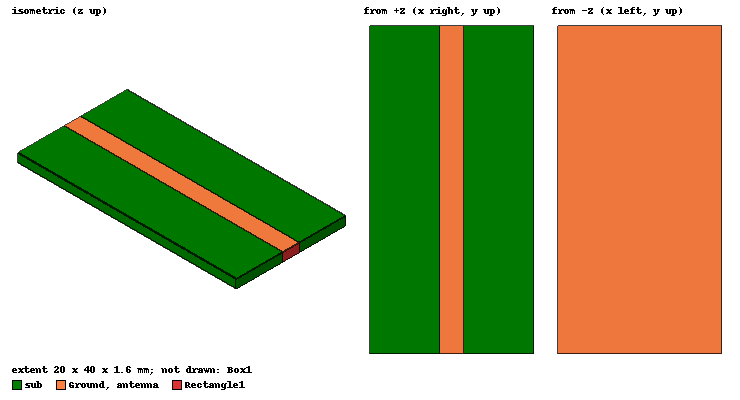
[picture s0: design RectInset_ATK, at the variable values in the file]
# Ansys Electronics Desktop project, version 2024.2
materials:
  vacuum: permittivity=1
  Duroid (tm): permittivity=2.2 dielectric_loss_tangent=0.0009
  FR4_epoxy: permittivity=4.4 dielectric_loss_tangent=0.02
  air: permittivity=1.0006 permeability=1.0000004

design RectInset_ATK (HFSS, HFSS Hybrid Terminal Network, model units mm)
options: Allow_Material_Override Save_Adaptive_support_files
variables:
  # --Antenna Dimensions
  patchX = 3cm
  patchY = 0.91cm
  # --Substrate Dimensions
  subH = 0.1575cm
  subX = 2.7cm
  subY = 2.87cm
  # --Feed Dimensions
  InsetDistance = 0.276cm
  InsetGap = 0.247cm
  FeedWidth = 0.493cm
  FeedLength = 0.914cm
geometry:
  sub [FR4_epoxy] = box(corner=(0, 0, 0), size=(20mm, 40mm, 1.6mm))
  Ground = rectangle(corner=(0mm, 0mm, 0mm), x_size=20mm, y_size=40mm)
  antenna = rectangle(corner=(10mm-1.5mm, 0mm, 1.6mm), x_size=3mm, y_size=40mm)
  port1 = rectangle(corner=(8.5mm, 0mm, 1.6mm), z_size=-1.6mm, x_size=3mm)
  Rectangle1 = rectangle(corner=(11.5mm, 40mm, 1.6mm), z_size=-1.6mm, x_size=-3mm)
  Box1 [vacuum] = box(corner=(-10mm, -10mm, -20mm), size=(40mm, 60mm, 40mm))
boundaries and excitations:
  antennaMetal: Perfect E Objects=antenna
  groundMetal: Perfect E Objects=Ground
  Rad1: Radiation Objects=Box1
  port1_T1: Terminal port=1 Edges=port1.edge(at (10, 0, 1.6)) TerminalResistance=50ohm
  1: Lumped Port Faces=port1.face LumpedPortType=Terminal Impedance=50ohm
  2: Lumped Port Objects=Rectangle1 LumpedPortType=Modal Modes{Mode1{IntLine{(10, 40, 0) -> (10, 40, 1.6)} CharImp=Zpi}} Impedance=50ohm
  reference conductors: antenna
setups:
  ATK_Solution: HfssDriven Frequency=5GHz MaxDeltaS=0.02 MaximumPasses=15 MinimumPasses=1 MinimumConvergedPasses=1 PercentRefinement=30 BasisOrder=1 PortAccuracy=2 DrivenSolverType="Direct Solver" IESolverType=ACA
    sweep FF_Sweep: 1GHz to 20GHz, 401 points; Type=Fast SaveFields
    sweep SParam_Sweep: 1GHz to 20GHz, 100 points; Type=Fast SaveFields
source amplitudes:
  1:1: 1V 0deg
  2:1: 0V 0deg
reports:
  Return Loss: dB(St11) vs Freq on ATK_Solution : SParam_Sweep
  Input Impedance: St11 on ATK_Solution : SParam_Sweep [Freq=all]
  Terminal S Parameter Plot 1: dB(St(port1_T1,port1_T1)), dB(St(2,port1_T1)), dB(St(port1_T1,2)), dB(St(2,2)) vs Freq on ATK_Solution : SParam_Sweep
